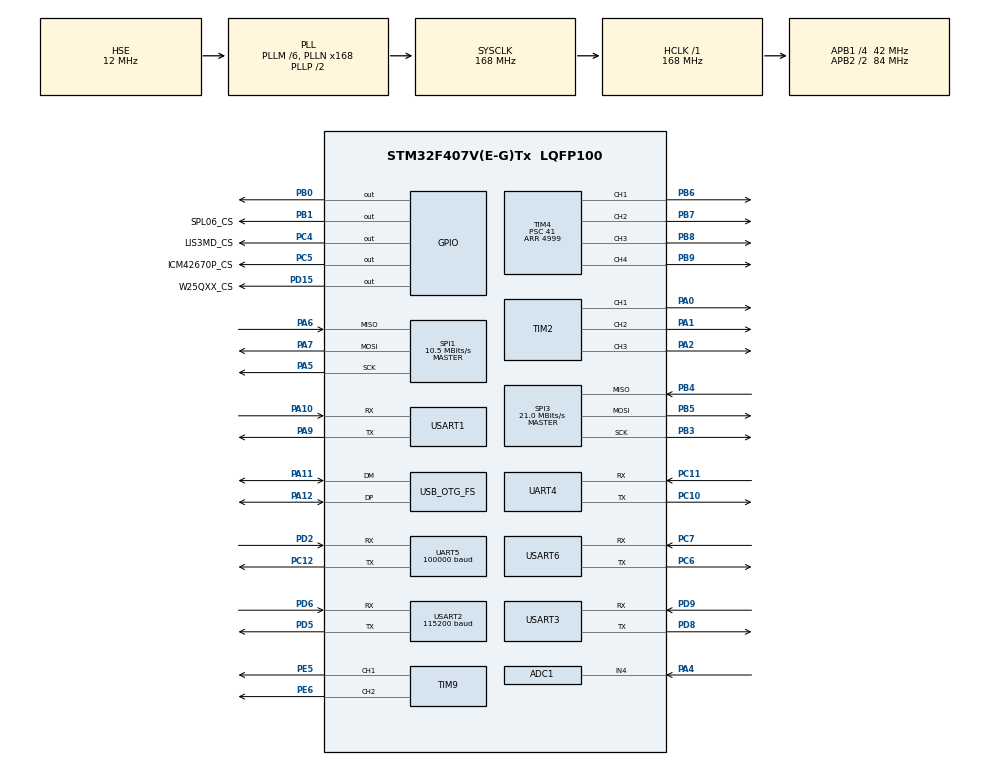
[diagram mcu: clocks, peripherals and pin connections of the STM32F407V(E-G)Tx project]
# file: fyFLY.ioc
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ADC1.Channel-1\#ChannelRegularConversion=ADC_CHANNEL_4
ADC1.NbrOfConversionFlag=1
ADC1.Rank-1\#ChannelRegularConversion=1
ADC1.SamplingTime-1\#ChannelRegularConversion=ADC_SAMPLETIME_3CYCLES
ADC1.master=1
Dma.Request0=UART5_RX
Dma.Request1=USART2_TX
Dma.Request2=USART2_RX
Dma.UART5_RX.0.Direction=DMA_PERIPH_TO_MEMORY
Dma.UART5_RX.0.FIFOMode=DMA_FIFOMODE_DISABLE
Dma.UART5_RX.0.Instance=DMA1_Stream0
Dma.UART5_RX.0.MemDataAlignment=DMA_MDATAALIGN_BYTE
Dma.UART5_RX.0.MemInc=DMA_MINC_ENABLE
Dma.UART5_RX.0.Mode=DMA_NORMAL
Dma.UART5_RX.0.PeriphDataAlignment=DMA_PDATAALIGN_BYTE
Dma.UART5_RX.0.PeriphInc=DMA_PINC_DISABLE
Dma.UART5_RX.0.Priority=DMA_PRIORITY_LOW
Dma.USART2_RX.2.Direction=DMA_PERIPH_TO_MEMORY
Dma.USART2_RX.2.FIFOMode=DMA_FIFOMODE_DISABLE
Dma.USART2_RX.2.Instance=DMA1_Stream5
Dma.USART2_RX.2.MemDataAlignment=DMA_MDATAALIGN_BYTE
Dma.USART2_RX.2.MemInc=DMA_MINC_ENABLE
Dma.USART2_RX.2.Mode=DMA_NORMAL
Dma.USART2_RX.2.PeriphDataAlignment=DMA_PDATAALIGN_BYTE
Dma.USART2_RX.2.PeriphInc=DMA_PINC_DISABLE
Dma.USART2_RX.2.Priority=DMA_PRIORITY_LOW
Dma.USART2_TX.1.Direction=DMA_MEMORY_TO_PERIPH
Dma.USART2_TX.1.FIFOMode=DMA_FIFOMODE_DISABLE
Dma.USART2_TX.1.Instance=DMA1_Stream6
Dma.USART2_TX.1.MemDataAlignment=DMA_MDATAALIGN_BYTE
Dma.USART2_TX.1.MemInc=DMA_MINC_ENABLE
Dma.USART2_TX.1.Mode=DMA_NORMAL
Dma.USART2_TX.1.PeriphDataAlignment=DMA_PDATAALIGN_BYTE
Dma.USART2_TX.1.PeriphInc=DMA_PINC_DISABLE
Dma.USART2_TX.1.Priority=DMA_PRIORITY_LOW
FREERTOS.Tasks01=defaultTask,24,128,StartDefaultTask,Default,NULL,Dynamic,NULL,NULL;taskFor1000Hz,31,256,StartTaskFor1000Hz,Default,NULL,Dynamic,NULL,NULL;taskFor250Hz,29,256,StartTaskFor250Hz,Default,NULL,Dynamic,NULL,NULL;taskFor500Hz,30,256,StartTaskFor500Hz,Default,NULL,Dynamic,NULL,NULL;taskFor100Hz,28,256,StartTaskFor100Hz,Default,NULL,Dynamic,NULL,NULL
FREERTOS.configENABLE_FPU=1
FREERTOS.configTOTAL_HEAP_SIZE=49152
Mcu.Family=STM32F4
Mcu.Name=STM32F407V(E-G)Tx
Mcu.Package=LQFP100
NVIC.DMA1_Stream0_IRQn=true\:5\:0\:false\:false\:true\:true\:false\:true\:true
NVIC.DMA1_Stream5_IRQn=true\:5\:0\:false\:false\:true\:true\:false\:true\:true
NVIC.DMA1_Stream6_IRQn=true\:5\:0\:false\:false\:true\:true\:false\:true\:true
NVIC.OTG_FS_IRQn=true\:5\:0\:false\:false\:true\:true\:false\:true\:true
NVIC.PriorityGroup=NVIC_PRIORITYGROUP_4
NVIC.TIM5_IRQn=true\:5\:0\:false\:false\:true\:true\:true\:true\:true
NVIC.TIM8_TRG_COM_TIM14_IRQn=true\:15\:0\:false\:false\:true\:false\:false\:true\:true
NVIC.TimeBase=TIM8_TRG_COM_TIM14_IRQn
NVIC.TimeBaseIP=TIM14
NVIC.UART5_IRQn=true\:5\:0\:false\:false\:true\:true\:true\:true\:true
NVIC.USART2_IRQn=true\:5\:0\:false\:false\:true\:true\:true\:true\:true
PA0-WKUP.Signal=S_TIM2_CH1_ETR
PA1.Signal=S_TIM2_CH2
PA10.Mode=Asynchronous
PA10.Signal=USART1_RX
PA11.Mode=Device_Only
PA11.Signal=USB_OTG_FS_DM
PA12.Mode=Device_Only
PA12.Signal=USB_OTG_FS_DP
PA13.Mode=Serial_Wire
PA13.Signal=SYS_JTMS-SWDIO
PA14.Mode=Serial_Wire
PA14.Signal=SYS_JTCK-SWCLK
PA2.Signal=S_TIM2_CH3
PA4.Signal=ADCx_IN4
PA5.Mode=Full_Duplex_Master
PA5.Signal=SPI1_SCK
PA6.Mode=Full_Duplex_Master
PA6.Signal=SPI1_MISO
PA7.Mode=Full_Duplex_Master
PA7.Signal=SPI1_MOSI
PA9.Mode=Asynchronous
PA9.Signal=USART1_TX
PB0.GPIO_Speed=GPIO_SPEED_FREQ_VERY_HIGH
PB0.Signal=GPIO_Output
PB1.GPIO_Label=SPL06_CS
PB1.GPIO_PuPd=GPIO_PULLUP
PB1.GPIO_Speed=GPIO_SPEED_FREQ_VERY_HIGH
PB1.PinState=GPIO_PIN_SET
PB1.Signal=GPIO_Output
PB3.Mode=Full_Duplex_Master
PB3.Signal=SPI3_SCK
PB4.Mode=Full_Duplex_Master
PB4.Signal=SPI3_MISO
PB5.Mode=Full_Duplex_Master
PB5.Signal=SPI3_MOSI
PB6.Signal=S_TIM4_CH1
PB7.Signal=S_TIM4_CH2
PB8.Signal=S_TIM4_CH3
PB9.Signal=S_TIM4_CH4
PC10.Mode=Asynchronous
PC10.Signal=UART4_TX
PC11.Mode=Asynchronous
PC11.Signal=UART4_RX
PC12.Mode=Asynchronous
PC12.Signal=UART5_TX
PC4.GPIO_Label=LIS3MD_CS
PC4.GPIO_PuPd=GPIO_PULLUP
PC4.GPIO_Speed=GPIO_SPEED_FREQ_VERY_HIGH
PC4.PinState=GPIO_PIN_SET
PC4.Signal=GPIO_Output
PC5.GPIO_Label=ICM42670P_CS
PC5.GPIO_PuPd=GPIO_PULLUP
PC5.GPIO_Speed=GPIO_SPEED_FREQ_VERY_HIGH
PC5.PinState=GPIO_PIN_SET
PC5.Signal=GPIO_Output
PC6.Mode=Asynchronous
PC6.Signal=USART6_TX
PC7.Mode=Asynchronous
PC7.Signal=USART6_RX
PD15.GPIO_Label=W25QXX_CS
PD15.GPIO_ModeDefaultOutputPP=GPIO_MODE_OUTPUT_PP
PD15.GPIO_PuPd=GPIO_PULLUP
PD15.GPIO_Speed=GPIO_SPEED_FREQ_VERY_HIGH
PD15.PinState=GPIO_PIN_SET
PD15.Signal=GPIO_Output
PD2.Mode=Asynchronous
PD2.Signal=UART5_RX
PD5.Mode=Asynchronous
PD5.Signal=USART2_TX
PD6.Mode=Asynchronous
PD6.Signal=USART2_RX
PD8.Mode=Asynchronous
PD8.Signal=USART3_TX
PD9.Mode=Asynchronous
PD9.Signal=USART3_RX
PE5.Signal=S_TIM9_CH1
PE6.Signal=S_TIM9_CH2
PH0-OSC_IN.Mode=HSE-External-Oscillator
PH0-OSC_IN.Signal=RCC_OSC_IN
PH1-OSC_OUT.Mode=HSE-External-Oscillator
PH1-OSC_OUT.Signal=RCC_OSC_OUT
ProjectManager.HeapSize=0x200
ProjectManager.StackSize=0x400
ProjectManager.TargetToolchain=MDK-ARM V5.32
RCC.48MHZClocksFreq_Value=48000000
RCC.AHBFreq_Value=168000000
RCC.APB1CLKDivider=RCC_HCLK_DIV4
RCC.APB1Freq_Value=42000000
RCC.APB1TimFreq_Value=84000000
RCC.APB2CLKDivider=RCC_HCLK_DIV2
RCC.APB2Freq_Value=84000000
RCC.APB2TimFreq_Value=168000000
RCC.CortexFreq_Value=168000000
RCC.HCLKFreq_Value=168000000
RCC.HSE_VALUE=12000000
RCC.HSI_VALUE=16000000
RCC.LSE_VALUE=32768
RCC.PLLM=6
RCC.PLLN=168
RCC.PLLQ=7
RCC.SYSCLKFreq_VALUE=168000000
RCC.SYSCLKSource=RCC_SYSCLKSOURCE_PLLCLK
RCC.VCOOutputFreq_Value=336000000
SH.ADCx_IN4.0=ADC1_IN4,IN4
SH.S_TIM2_CH1_ETR.0=TIM2_CH1,PWM Generation1 CH1
SH.S_TIM2_CH2.0=TIM2_CH2,PWM Generation2 CH2
SH.S_TIM2_CH3.0=TIM2_CH3,PWM Generation3 CH3
SH.S_TIM4_CH1.0=TIM4_CH1,PWM Generation1 CH1
SH.S_TIM4_CH2.0=TIM4_CH2,PWM Generation2 CH2
SH.S_TIM4_CH3.0=TIM4_CH3,PWM Generation3 CH3
SH.S_TIM4_CH4.0=TIM4_CH4,PWM Generation4 CH4
SH.S_TIM9_CH1.0=TIM9_CH1,PWM Generation1 CH1
SH.S_TIM9_CH2.0=TIM9_CH2,PWM Generation2 CH2
SPI1.BaudRatePrescaler=SPI_BAUDRATEPRESCALER_8
SPI1.CLKPhase=SPI_PHASE_2EDGE
SPI1.CLKPolarity=SPI_POLARITY_HIGH
SPI1.CalculateBaudRate=10.5 MBits/s
SPI1.Direction=SPI_DIRECTION_2LINES
SPI1.Mode=SPI_MODE_MASTER
SPI1.VirtualType=VM_MASTER
SPI3.CLKPolarity=SPI_POLARITY_HIGH
SPI3.CalculateBaudRate=21.0 MBits/s
SPI3.Direction=SPI_DIRECTION_2LINES
SPI3.Mode=SPI_MODE_MASTER
SPI3.VirtualType=VM_MASTER
TIM2.Channel-PWM\ Generation1\ CH1=TIM_CHANNEL_1
TIM2.Channel-PWM\ Generation2\ CH2=TIM_CHANNEL_2
TIM2.Channel-PWM\ Generation3\ CH3=TIM_CHANNEL_3
TIM4.Channel-PWM\ Generation1\ CH1=TIM_CHANNEL_1
TIM4.Channel-PWM\ Generation2\ CH2=TIM_CHANNEL_2
TIM4.Channel-PWM\ Generation3\ CH3=TIM_CHANNEL_3
TIM4.Channel-PWM\ Generation4\ CH4=TIM_CHANNEL_4
TIM4.Period=4999
TIM4.Prescaler=41
TIM5.AutoReloadPreload=TIM_AUTORELOAD_PRELOAD_ENABLE
TIM5.Prescaler=41
TIM9.Channel-PWM\ Generation1\ CH1=TIM_CHANNEL_1
TIM9.Channel-PWM\ Generation2\ CH2=TIM_CHANNEL_2
UART4.VirtualMode=Asynchronous
UART5.BaudRate=100000
UART5.Mode=MODE_TX_RX
UART5.Parity=PARITY_EVEN
UART5.StopBits=UART_STOPBITS_2
UART5.VirtualMode=Asynchronous
UART5.WordLength=WORDLENGTH_9B
USART1.VirtualMode=VM_ASYNC
USART2.BaudRate=115200
USART2.VirtualMode=VM_ASYNC
USART3.VirtualMode=VM_ASYNC
USART6.VirtualMode=VM_ASYNC
USB_DEVICE.CLASS_NAME_FS=CDC
USB_DEVICE.VirtualMode-CDC_FS=Cdc
USB_DEVICE.VirtualModeFS=Cdc_FS
USB_OTG_FS.VirtualMode=Device_Only
VP_FREERTOS_VS_CMSIS_V2.Mode=CMSIS_V2
VP_SYS_VS_tim14.Mode=TIM14
VP_TIM2_VS_ClockSourceINT.Mode=Internal
VP_TIM4_VS_ClockSourceINT.Mode=Internal
VP_TIM5_VS_ClockSourceINT.Mode=Internal
VP_TIM9_VS_ClockSourceINT.Mode=Internal
VP_USB_DEVICE_VS_USB_DEVICE_CDC_FS.Mode=CDC_FS
board=custom

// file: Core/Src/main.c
/* USER CODE BEGIN Header */
/**
  ******************************************************************************
  * @file           : main.c
  * @brief          : Main program body
  ******************************************************************************
  * @attention
  *
  * Copyright (c) 2024 STMicroelectronics.
  * All rights reserved.
  *
  * This software is licensed under terms that can be found in the LICENSE file
  * in the root directory of this software component.
  * If no LICENSE file comes with this software, it is provided AS-IS.
  *
  ******************************************************************************
  */
/* USER CODE END Header */
#include "main.h"
#include "cmsis_os.h"
#include "adc.h"
#include "dma.h"
#include "spi.h"
#include "tim.h"
#include "usart.h"
#include "usb_device.h"
#include "gpio.h"

void SystemClock_Config(void);
void MX_FREERTOS_Init(void);
/* USER CODE BEGIN PFP */
extern void mainApp(void);
/* USER CODE END PFP */

int main(void)
{

  /* MCU Configuration--------------------------------------------------------*/

  /* Reset of all peripherals, Initializes the Flash interface and the Systick. */
  HAL_Init();

  /* Configure the system clock */
  SystemClock_Config();

  /* Initialize all configured peripherals */
  MX_GPIO_Init();
  MX_DMA_Init();
  MX_ADC1_Init();
  MX_SPI3_Init();
  MX_TIM2_Init();
  MX_TIM4_Init();
  MX_TIM9_Init();
  MX_UART4_Init();
  MX_UART5_Init();
  MX_USART1_UART_Init();
  MX_USART2_UART_Init();
  MX_USART3_UART_Init();
  MX_USART6_UART_Init();
  MX_SPI1_Init();
  MX_TIM5_Init();
  /* USER CODE BEGIN 2 */

	mainApp();	/* 开算 */

  /* USER CODE END 2 */

  /* Init scheduler */
  osKernelInitialize();  /* Call init function for freertos objects (in freertos.c) */
  MX_FREERTOS_Init();

  /* Start scheduler */
  osKernelStart();

  /* We should never get here as control is now taken by the scheduler */
  /* Infinite loop */
  while (1)
  {

  }
}

void SystemClock_Config(void)
{
  RCC_OscInitTypeDef RCC_OscInitStruct = {0};
  RCC_ClkInitTypeDef RCC_ClkInitStruct = {0};

  /** Configure the main internal regulator output voltage
  */
  __HAL_RCC_PWR_CLK_ENABLE();
  __HAL_PWR_VOLTAGESCALING_CONFIG(PWR_REGULATOR_VOLTAGE_SCALE1);

  /** Initializes the RCC Oscillators according to the specified parameters
  * in the RCC_OscInitTypeDef structure.
  */
  RCC_OscInitStruct.OscillatorType = RCC_OSCILLATORTYPE_HSE;
  RCC_OscInitStruct.HSEState = RCC_HSE_ON;
  RCC_OscInitStruct.PLL.PLLState = RCC_PLL_ON;
  RCC_OscInitStruct.PLL.PLLSource = RCC_PLLSOURCE_HSE;
  RCC_OscInitStruct.PLL.PLLM = 6;
  RCC_OscInitStruct.PLL.PLLN = 168;
  RCC_OscInitStruct.PLL.PLLP = RCC_PLLP_DIV2;
  RCC_OscInitStruct.PLL.PLLQ = 7;
  if (HAL_RCC_OscConfig(&RCC_OscInitStruct) != HAL_OK)
  {
    Error_Handler();
  }

  /** Initializes the CPU, AHB and APB buses clocks
  */
  RCC_ClkInitStruct.ClockType = RCC_CLOCKTYPE_HCLK|RCC_CLOCKTYPE_SYSCLK
                              |RCC_CLOCKTYPE_PCLK1|RCC_CLOCKTYPE_PCLK2;
  RCC_ClkInitStruct.SYSCLKSource = RCC_SYSCLKSOURCE_PLLCLK;
  RCC_ClkInitStruct.AHBCLKDivider = RCC_SYSCLK_DIV1;
  RCC_ClkInitStruct.APB1CLKDivider = RCC_HCLK_DIV4;
  RCC_ClkInitStruct.APB2CLKDivider = RCC_HCLK_DIV2;

  if (HAL_RCC_ClockConfig(&RCC_ClkInitStruct, FLASH_LATENCY_5) != HAL_OK)
  {
    Error_Handler();
  }
}

void HAL_TIM_PeriodElapsedCallback(TIM_HandleTypeDef *htim)
{
  if (htim->Instance == TIM14) {
    HAL_IncTick();
  }
}

void Error_Handler(void)
{
  __disable_irq();
  while (1)
  {
  }
}

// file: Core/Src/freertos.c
/* USER CODE BEGIN Header */
/**
  ******************************************************************************
  * File Name          : freertos.c
  * Description        : Code for freertos applications
  ******************************************************************************
  * @attention
  *
  * Copyright (c) 2024 STMicroelectronics.
  * All rights reserved.
  *
  * This software is licensed under terms that can be found in the LICENSE file
  * in the root directory of this software component.
  * If no LICENSE file comes with this software, it is provided AS-IS.
  *
  ******************************************************************************
  */
/* USER CODE END Header */

#include "FreeRTOS.h"
#include "task.h"
#include "main.h"
#include "cmsis_os.h"

/* USER CODE BEGIN Includes */
#include "common.h"
#include "spi.h"
#include "bsp_icm42670p.h"
#include "bsp_spl06.h"
#include "bsp_sbus.h"
#include "bsp_lis3mdl.h"
#include "ringBuffer.h"
#include "usbd_cdc_if.h"
#include "dataTransfer.h"
#include "MahonyAHRS.h"
#include "kalman_filter.h"
#include "QuaternionEKF.h"
#include "user_lib.h"
#include "flyRcCtr.h"
#include "fyFilter.h"
#include "motoCtr.h"
#include "fyCalibration.h"
#include "fyPid.h"
#include "fyAttitudeCtr.h"
#include "usart.h"
/* USER CODE END Includes */

/* USER CODE BEGIN Variables */
_imuDataStruct imuData;
/* USER CODE END Variables */
/* Definitions for defaultTask */
osThreadId_t defaultTaskHandle;
const osThreadAttr_t defaultTask_attributes = {
  .name = "defaultTask",
  .stack_size = 128 * 4,
  .priority = (osPriority_t) osPriorityNormal,
};
/* Definitions for taskFor1000Hz */
osThreadId_t taskFor1000HzHandle;
const osThreadAttr_t taskFor1000Hz_attributes = {
  .name = "taskFor1000Hz",
  .stack_size = 256 * 4,
  .priority = (osPriority_t) osPriorityNormal7,
};
/* Definitions for taskFor250Hz */
osThreadId_t taskFor250HzHandle;
const osThreadAttr_t taskFor250Hz_attributes = {
  .name = "taskFor250Hz",
  .stack_size = 256 * 4,
  .priority = (osPriority_t) osPriorityNormal5,
};
/* Definitions for taskFor500Hz */
osThreadId_t taskFor500HzHandle;
const osThreadAttr_t taskFor500Hz_attributes = {
  .name = "taskFor500Hz",
  .stack_size = 256 * 4,
  .priority = (osPriority_t) osPriorityNormal6,
};
/* Definitions for taskFor100Hz */
osThreadId_t taskFor100HzHandle;
const osThreadAttr_t taskFor100Hz_attributes = {
  .name = "taskFor100Hz",
  .stack_size = 256 * 4,
  .priority = (osPriority_t) osPriorityNormal4,
};

/* USER CODE BEGIN FunctionPrototypes */
void InitQuaternion(float *init_q4, inv_imu_sensor_event_t *evt);
void readImuData(inv_imu_sensor_event_t *imuReadHandle,_imuDataStruct *imuData);
void imuDataFilter(_imuDataStruct *tempImuData);
void imuUpdate(_imuDataStruct *tempImuData);
void sendOriginalDataProcess(const _imuDataStruct tempImuData);
/* USER CODE END FunctionPrototypes */

void StartDefaultTask(void *argument);
void StartTaskFor1000Hz(void *argument);
void StartTaskFor250Hz(void *argument);
void StartTaskFor500Hz(void *argument);
void StartTaskFor100Hz(void *argument);

extern void MX_USB_DEVICE_Init(void);
void MX_FREERTOS_Init(void); /* (MISRA C 2004 rule 8.1) */

void MX_FREERTOS_Init(void) {

  /* Create the thread(s) */
  /* creation of defaultTask */
  defaultTaskHandle = osThreadNew(StartDefaultTask, NULL, &defaultTask_attributes);

  /* creation of taskFor1000Hz */
  taskFor1000HzHandle = osThreadNew(StartTaskFor1000Hz, NULL, &taskFor1000Hz_attributes);

  /* creation of taskFor250Hz */
  taskFor250HzHandle = osThreadNew(StartTaskFor250Hz, NULL, &taskFor250Hz_attributes);

  /* creation of taskFor500Hz */
  taskFor500HzHandle = osThreadNew(StartTaskFor500Hz, NULL, &taskFor500Hz_attributes);

  /* creation of taskFor100Hz */
  taskFor100HzHandle = osThreadNew(StartTaskFor100Hz, NULL, &taskFor100Hz_attributes);

}

void StartDefaultTask(void *argument)
{
  /* init code for USB_DEVICE */
  MX_USB_DEVICE_Init();
	vTaskDelay(100);
  /* USER CODE BEGIN StartDefaultTask */
  /* Infinite loop */
  for(;;)
  {
		uartDataDmaSend();		/* 串口数据发送 */
  }
  /* USER CODE END StartDefaultTask */
}

void StartTaskFor1000Hz(void *argument)
{
  /* USER CODE BEGIN StartTaskFor1000Hz */
	TickType_t xLastWakeTime;
	const TickType_t xFrequency = pdMS_TO_TICKS(1);  // 定义任务的运行频率 1000Hz
	xLastWakeTime = xTaskGetTickCount();
  /* Infinite loop */
  for(;;)
  {
    vTaskDelayUntil(&xLastWakeTime, xFrequency);
  }
  /* USER CODE END StartTaskFor1000Hz */
}

void StartTaskFor250Hz(void *argument)
{
  /* USER CODE BEGIN StartTaskFor250Hz */
	TickType_t xLastWakeTime;
	const TickType_t xFrequency = pdMS_TO_TICKS(4);  // 定义任务的运行频率 250Hz
	xLastWakeTime = xTaskGetTickCount();
  /* Infinite loop */
  for(;;)
  {
		angleControl(ch, imuData, 4);
    vTaskDelayUntil(&xLastWakeTime, xFrequency);
  }
  /* USER CODE END StartTaskFor250Hz */
}

void StartTaskFor500Hz(void *argument)
{
  /* USER CODE BEGIN StartTaskFor500Hz */
	TickType_t xLastWakeTime;
	const TickType_t xFrequency = pdMS_TO_TICKS(2);  // 定义任务的运行频率 500Hz
	xLastWakeTime = xTaskGetTickCount();
  /* Infinite loop */

	inv_imu_sensor_event_t imu_event;
	memset(&imu_event,0,sizeof(inv_imu_sensor_event_t));

#ifdef USE_MAHONY_AHRS
	Mahony_Init(500);
#endif

#ifdef USE_EKF
	float init_quaternion[4] = {0};
	for(int i=0;i<100;i++)
	{
		getDataFromRegisters(&imu_event);
		HAL_Delay(2);
	}
  InitQuaternion(init_quaternion, &imu_event);
	IMU_QuaternionEKF_Init(init_quaternion, 10, 0.001, 10000000, 1, 0.002f,0);
#endif
	accelAndGyroFilterInit();/* 滤波器 启动！ */
  for(;;)
  {
		HAL_GPIO_WritePin(GPIOB, GPIO_PIN_0, GPIO_PIN_SET);
		/* 从传感器读取数据 */
		readImuData(&imu_event,&imuData);
		/* 数据滤波 */
		imuDataFilter(&imuData);
		/* 校准模式下发送传感器的原始数据 */
		sendOriginalDataProcess(imuData);
		/* 姿态解算 */
		imuUpdate(&imuData);
		/* 角速度环 */
		if(WAIT_TAKE_OFF == flyState.flyTakeOffState)
		{
			angularVelocityControl(imuData,2);
			outPwmValue[0] = ch[CH_THR]*3 + angularVelocityPitchPid.pidOutValue - angularVelocityRollPid.pidOutValue + angularVelocityYawPid.pidOutValue + systemInfo.idleThrottleValue;
			outPwmValue[1] = ch[CH_THR]*3 + angularVelocityPitchPid.pidOutValue + angularVelocityRollPid.pidOutValue - angularVelocityYawPid.pidOutValue + systemInfo.idleThrottleValue;
			outPwmValue[2] = ch[CH_THR]*3 - angularVelocityPitchPid.pidOutValue + angularVelocityRollPid.pidOutValue + angularVelocityYawPid.pidOutValue + systemInfo.idleThrottleValue;
			outPwmValue[3] = ch[CH_THR]*3 - angularVelocityPitchPid.pidOutValue - angularVelocityRollPid.pidOutValue - angularVelocityYawPid.pidOutValue + systemInfo.idleThrottleValue;

			outPwmValue[0] = LIMT(outPwmValue[0],0,PWM_MAX_RANGE);
			outPwmValue[1] = LIMT(outPwmValue[1],0,PWM_MAX_RANGE);
			outPwmValue[2] = LIMT(outPwmValue[2],0,PWM_MAX_RANGE);
			outPwmValue[3] = LIMT(outPwmValue[3],0,PWM_MAX_RANGE);
		}
		else
		{
			angularVelocityPitchPid.integralError = 0;
			angularVelocityRollPid.integralError = 0;
			angularVelocityYawPid.integralError = 0;
		}
		if(0 == systemInfo.calibrationMode)
		{
			sendGyroData(imuData);
		}
//		sendFlyInfo(systemInfo);
//		sendImuData(imuData);

		motoPowerOut(outPwmValue[0], outPwmValue[1], outPwmValue[2], outPwmValue[3],&flyState);
		HAL_GPIO_WritePin(GPIOB, GPIO_PIN_0, GPIO_PIN_RESET);
    vTaskDelayUntil(&xLastWakeTime, xFrequency);
  }
  /* USER CODE END StartTaskFor500Hz */
}

void StartTaskFor100Hz(void *argument)
{
  /* USER CODE BEGIN StartTaskFor100Hz */
	TickType_t xLastWakeTime;
	const TickType_t xFrequency = pdMS_TO_TICKS(10);  // 定义任务的运行频率 100Hz
	xLastWakeTime = xTaskGetTickCount();
  /* Infinite loop */
  for(;;)
  {
		/* 更新遥控器接收的值 */
		updateRcValue(ch,sbusCh);
		/* 根据遥控器的值更新系统状态 */
		updateRcState(&flyState,10);
		/* 串口数据接收以及处理 */
		uartMessageBufferReceiveAndAnalysis();
		/* 电调校准 */
		electricalCalibration(ch,&flyState);
//	sendGyroData(imuData);
//		if(WAIT_TAKE_OFF == flyState.flyTakeOffState)
//		{
//			outPwmValue[1] = systemInfo.idleThrottleValue +  ch[CH_THR];
//		}
//		sendImuData(imuData);
		vTaskDelayUntil(&xLastWakeTime, xFrequency);
  }
  /* USER CODE END StartTaskFor100Hz */
}

/* USER CODE BEGIN Application */
#if defined(USB_DEBUG)
/*
	vcpDataAnalysis(_RingBuffer *ringbuffer)
	功能:解析USB虚拟串口接收的数据
*/
static void vcpDataAnalysis(_RingBuffer *ringbuffer)
{
	char logBuffer[100];
	unsigned char *RxFrameData;/*存储解析帧的空间*/
	unsigned short FrameDataLen = ringbuffer->Lenght;
	if(xPortGetFreeHeapSize() >= FrameDataLen)
	{
		RxFrameData = (unsigned char *)pvPortMalloc(FrameDataLen);	/*为读取缓冲区中的所有数据申请内存*/
		if(ReadBytes(ringbuffer,RxFrameData,FrameDataLen) == 1)		/*读取缓冲区中的所有数据*/
		{
			/*读取到缓冲区的数据*/
			for(int i=0;i<FrameDataLen;i++)	/*遍历*/
			{
				if(RxFrameData[i] == 0xAA)			/*找帧头*/
				{
					if(FrameDataLen - i <= 3)		/*帧头后面无数据长度*/
					{
						WriteBytes(ringbuffer,&RxFrameData[i],FrameDataLen - i);/*未处理的数据写回缓冲区*/
						vPortFree(RxFrameData);  //释放内存
						return ;/*返回空数据*/
					}

					unsigned short FrameLen = RxFrameData[i+3];			/*得到帧数据内容长度*/

					if((FrameDataLen - i) >= (4 + FrameLen + 2))	/*剩余数据是否还有一帧的长度*/
					{
						if(FrameDataCheck( &RxFrameData[i] ) == 1)		/*校验帧数据*/
						{
							unsigned short OneFrameDataLen = 4 + FrameLen + 2;			/*返回帧总长*/
							if(RxFrameData[i+1] == PC)														/*是上位机发送的数据*/
							{
								switch (RxFrameData[i+2])
								{
										case CMD_SHOW_DEVICE_INFO:
										{
//												showDeviceInfo();
												break;
										}
										case CMD_RESET_DEVICE:
										{
												sendLogMessage(0xAA,MCU,CMD_LOG_MESSAGE,"\xe8\xae\xbe\xe5\xa4\x87\xe9\x87\x8d\xe5\x90\xaf");
												HAL_Delay(100);
												/* 系统复位 */
												NVIC_SystemReset();
												break;
										}
//										case CMD_RUN_IAP:               /* 运行IAP程序 */
//										{
//											sendLogMessage(0xAA,MCU,CMD_LOG_MESSAGE,"\xe8\xae\xbe\xe5\xa4\x87\xe9\x87\x8d\xe5\x90\xaf");
//
//											bsp_EraseCpuFlash((uint32_t)ADDR_FLASH_SECTOR_7_BANK2);
//
//											deviceAttributeInfo.iapState = IAP_RUN_STATE;
//
//											bsp_WriteCpuFlash(ADDR_FLASH_SECTOR_7_BANK2,(uint8_t *)deviceAttributeInfo.wifiName,sizeof(deviceAttributeInfo));
//
//											/* 系统复位 */
//											 NVIC_SystemReset(); //复位
//											break;
//										}

										default:
												break;
								}
							}
							i += OneFrameDataLen-1;										/*偏移*/
						}
					}
					else
					{
						WriteBytes(ringbuffer,&RxFrameData[i],FrameDataLen - i);/*未处理的数据写回缓冲区*/
						vPortFree(RxFrameData);  //释放内存
						return ;
					}
				}
			}
		}
		vPortFree(RxFrameData);  //释放内存
	}
}
#endif
// 使用加速度计的数据初始化Roll和Pitch,而Yaw置0,这样可以避免在初始时候的姿态估计误差
void InitQuaternion(float *init_q4, inv_imu_sensor_event_t *evt)
{
    float acc_init[3] = {0};
    float gravity_norm[3] = {0, 0, 1}; // 导航系重力加速度矢量,归一化后为(0,0,1)
    float axis_rot[3] = {0};           // 旋转轴
    // 读取100次加速度计数据,取平均值作为初始值
    for (uint8_t i = 0; i < 100; ++i)
    {
        getDataFromRegisters(evt);
        acc_init[0] += -evt->accel[1]/2024.0f;
        acc_init[1] += -evt->accel[0]/2024.0f;
        acc_init[2] += evt->accel[2]/2024.0f;
        HAL_Delay(1);
    }
    for (uint8_t i = 0; i < 3; ++i)
        acc_init[i] /= 100;

    Norm3d(acc_init);
    // 计算原始加速度矢量和导航系重力加速度矢量的夹角
    float angle = acosf(Dot3d(acc_init, gravity_norm));
    Cross3d(acc_init, gravity_norm, axis_rot);
    Norm3d(axis_rot);
    init_q4[0] = cosf(angle / 2.0f);
    for (uint8_t i = 0; i < 2; ++i)
        init_q4[i + 1] = axis_rot[i] * sinf(angle / 2.0f); // 轴角公式,第三轴为0(没有z轴分量)
}
/* USER CODE END Application */
